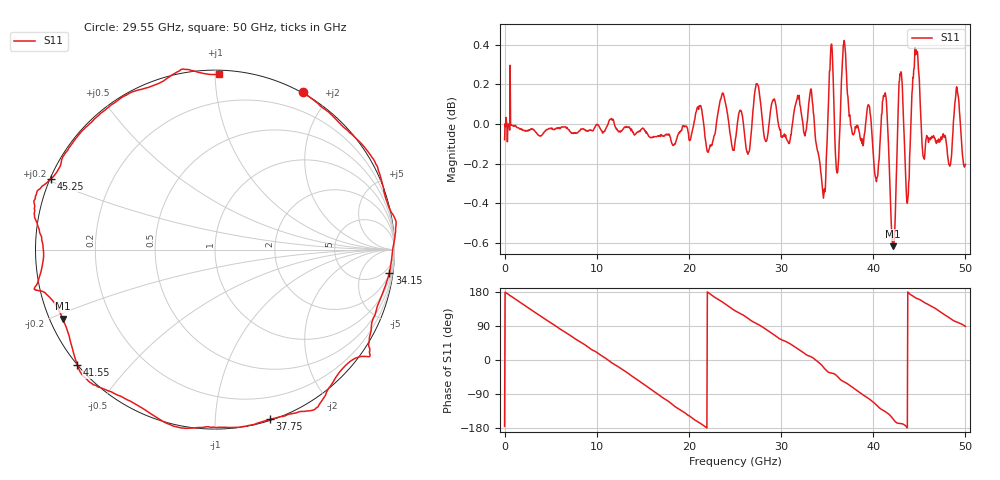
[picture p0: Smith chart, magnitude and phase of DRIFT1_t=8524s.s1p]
!Created with skrf (http://scikit-rf.org).
# Hz S RI R 50.0
!freq ReS11 ImS11
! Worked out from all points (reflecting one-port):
!   1001 points, 300 kHz to 50 GHz, reference 50 ohm
!   lowest |S11| = -0.6 dB at 42.15 GHz (marker M1), VSWR 28.20, Z = 1.86 - j10.8 ohm
!   phase of S11 starts at -175 deg and turns -816 deg over the sweep
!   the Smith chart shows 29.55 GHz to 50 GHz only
!   S11 on the Smith chart (normalised r, x): 29.55 GHz: -0.01, +1.70; 34.15 GHz: 2, -14; 37.75 GHz: 0.01, -1.37; 41.55 GHz: -0.00, -0.36; 45.25 GHz: 0.00, +0.21; 50 GHz: 0.02, +1.02
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300000  -0.9873 -0.0843
1.500291e9  -0.9056 0.4185
3.30028e9  -0.5805 0.8091
6.250262e9  0.2022 0.9776
9.500243e9  0.8917 0.4439
1.250022e10  0.9325 -0.3493
1.580021e10  0.2388 -0.9629
1.73502e10  -0.2107 -0.9706
1.875019e10  -0.5974 -0.793
2.150017e10  -0.9931 -0.1482
2.350016e10  -0.9216 0.426
2.500015e10  -0.6364 0.7575
2.735014e10  -0.107 1.018
2.955012e10  0.4896 0.879
3.125011e10  0.7846 0.6212
3.30501e10  0.9968 0.1852
3.41501e10  0.971 -0.1315
3.520009e10  0.8619 -0.5497
3.750008e10  0.3773 -0.9294
3.775007e10  0.3055 -0.9459
3.955006e10  -0.2174 -0.9868
4.155005e10  -0.7672 -0.6417
4.215005e10  -0.8481 -0.3853
4.290004e10  -1.005 -0.2224
4.375004e10  -0.9575 0.00685
4.525003e10  -0.9117 0.3959
4.770001e10  -0.4942 0.8603
5e10  0.0199 0.9766
